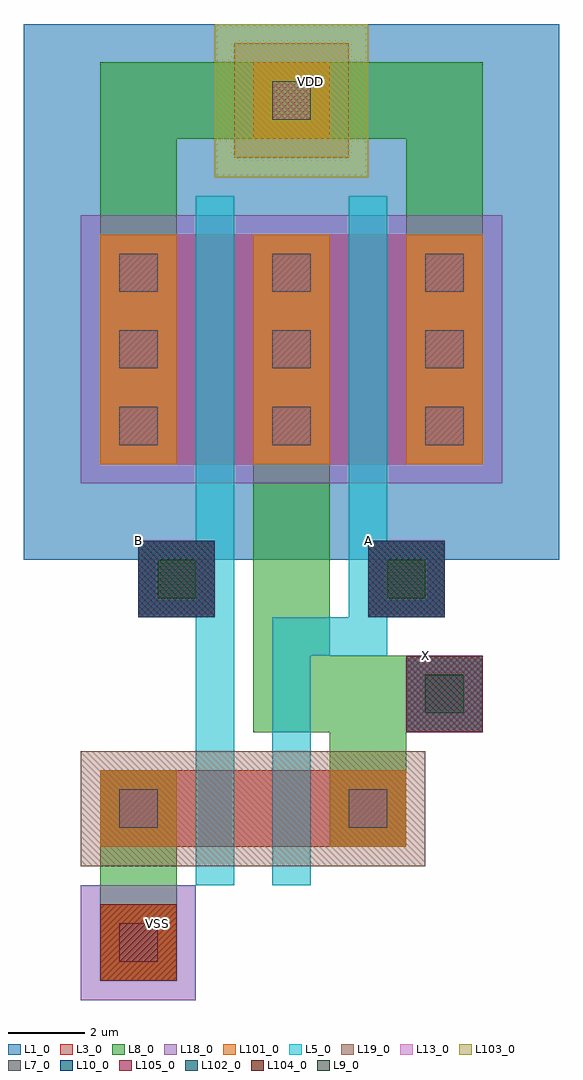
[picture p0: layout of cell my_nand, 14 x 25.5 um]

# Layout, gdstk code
import gdstk
lib = gdstk.Library(unit=1e-6, precision=1e-09)
def R(c, l, rs):  # rectangles x0, y0, x1, y1
    for r in rs: c.add(gdstk.rectangle(r[:2], r[2:], *l))
L1_0 = (1, 0)
L3_0 = (3, 0)
L5_0 = (5, 0)
L7_0 = (7, 0)
L8_0 = (8, 0)
L9_0 = (9, 0)
L10_0 = (10, 0)
L13_0 = (13, 0)
L18_0 = (18, 0)
L19_0 = (19, 0)
L101_0 = (101, 0)
L102_0 = (102, 0)
L103_0 = (103, 0)
L104_0 = (104, 0)
L105_0 = (105, 0)

dcont = lib.new_cell('dcont')
R(dcont, L3_0, [(-1,-1,1,1)])
R(dcont, L7_0, [(-0.5,-0.5,0.5,0.5)])
R(dcont, L8_0, [(-1,-1,1,1)])
R(dcont, L13_0, [(-0.5,-0.5,0.5,0.5)])
R(dcont, L101_0, [(-1,-1,1,1)])
dcont.add(gdstk.Label('dcont', (0,0), layer=13, texttype=0))

nsubcont = lib.new_cell('nsubcont')
R(nsubcont, L1_0, [(-2,-2,2,2)])
R(nsubcont, L19_0, [(-1.5,-1.5,1.5,1.5)])
R(nsubcont, L103_0, [(-2,-2,2,2)])
nsubcont.add(gdstk.Reference(dcont, (0,0)))
nsubcont.add(gdstk.Label('NScont', (0,0), layer=13, texttype=0))

pcont = lib.new_cell('pcont')
R(pcont, L5_0, [(-1,-1,1,1)])
R(pcont, L7_0, [(-0.5,-0.5,0.5,0.5)])
R(pcont, L8_0, [(-1,-1,1,1)])
R(pcont, L13_0, [(-0.5,-0.5,0.5,0.5)])
R(pcont, L102_0, [(-1,-1,1,1)])
pcont.add(gdstk.Label('pcont', (0,0), layer=13, texttype=0))

via = lib.new_cell('Via')
R(via, L8_0, [(-1,-1,1,1)])
R(via, L9_0, [(-0.5,-0.5,0.5,0.5)])
R(via, L10_0, [(-1,-1,1,1)])
R(via, L13_0, [(-0.5,-0.5,0.5,0.5)])
R(via, L105_0, [(-1,-1,1,1)])
via.add(gdstk.Label('via', (0,0), layer=13, texttype=0))

psubcont = lib.new_cell('psubcont')
R(psubcont, L18_0, [(-1.5,-1.5,1.5,1.5)])
R(psubcont, L104_0, [(-1,-1,1,1)])
psubcont.add(gdstk.Reference(dcont, (0,0)))
psubcont.add(gdstk.Label('PScon', (0,0), layer=13, texttype=0))

my_nand = lib.new_cell('my_nand')
R(my_nand, L1_0, [(-5,-6,9,8)])
R(my_nand, L3_0, [(-3,-13.5,5,-11.5), (-3,-3.5,7,2.5)])
R(my_nand, L8_0, [(-3,-15,-1,-13.5), (3,-11.5,5,-10.5), (1,-10.5,3,-6.5), (3,-10.5,5,-8.5), (1,-6.5,3,-3.5), (-3,2.5,-1,5), (5,2.5,7,5), (-3,5,1,7), (3,5,7,7)])
R(my_nand, L18_0, [(-3.5,-4,7.5,3)])
R(my_nand, L19_0, [(-3.5,-14,5.5,-11)])
my_nand.add(gdstk.FlexPath([(0,3.5),(0,-4.5)], 1, ends="flush", simple_path=True, layer=5, datatype=0))  # L5_0
my_nand.add(gdstk.FlexPath([(0,-10.5),(0,-14.5)], 1, ends="flush", simple_path=True, layer=5, datatype=0))  # L5_0
my_nand.add(gdstk.FlexPath([(0,-4.5),(0,-10.5),(0,-10.5)], 1, ends="flush", simple_path=True, layer=5, datatype=0))  # L5_0
my_nand.add(gdstk.FlexPath([(4,3.5),(4,-4.5)], 1, ends="flush", simple_path=True, layer=5, datatype=0))  # L5_0
my_nand.add(gdstk.FlexPath([(2,-8.5),(2,-14.5)], 1, ends="flush", simple_path=True, layer=5, datatype=0))  # L5_0
my_nand.add(gdstk.FlexPath([(4,-4.5),(4,-8.5)], 1, ends="flush", simple_path=True, layer=5, datatype=0))  # L5_0
my_nand.add(gdstk.FlexPath([(3.5,-8),(1.5,-8)], 1, ends="flush", simple_path=True, layer=5, datatype=0))  # L5_0
my_nand.add(gdstk.Reference(nsubcont, (2,6)))
my_nand.add(gdstk.Reference(dcont, (-2,1.5)))
my_nand.add(gdstk.Reference(dcont, (-2,-0.5)))
my_nand.add(gdstk.Reference(dcont, (-2,-2.5)))
my_nand.add(gdstk.Reference(dcont, (2,1.5)))
my_nand.add(gdstk.Reference(dcont, (2,-0.5)))
my_nand.add(gdstk.Reference(dcont, (2,-2.5)))
my_nand.add(gdstk.Reference(pcont, (-1,-6.5)))
my_nand.add(gdstk.Reference(via, (-1,-6.5)))
my_nand.add(gdstk.Reference(dcont, (6,1.5)))
my_nand.add(gdstk.Reference(dcont, (6,-0.5)))
my_nand.add(gdstk.Reference(dcont, (6,-2.5)))
my_nand.add(gdstk.Reference(pcont, (5,-6.5)))
my_nand.add(gdstk.Reference(via, (5,-6.5)))
my_nand.add(gdstk.Reference(via, (6,-9.5)))
my_nand.add(gdstk.Reference(dcont, (4,-12.5)))
my_nand.add(gdstk.Reference(psubcont, (-2,-16)))
my_nand.add(gdstk.Reference(dcont, (-2,-12.5)))
my_nand.add(gdstk.Label('X', (5.5,-8.5), layer=8, texttype=0))
my_nand.add(gdstk.Label('VDD', (2.5,6.5), layer=8, texttype=0))
my_nand.add(gdstk.Label('B', (-2,-5.5), layer=8, texttype=0))
my_nand.add(gdstk.Label('VSS', (-1.5,-15.5), layer=8, texttype=0))
my_nand.add(gdstk.Label('A', (4,-5.5), layer=8, texttype=0))

lib.write_gds('my_nand.gds')
